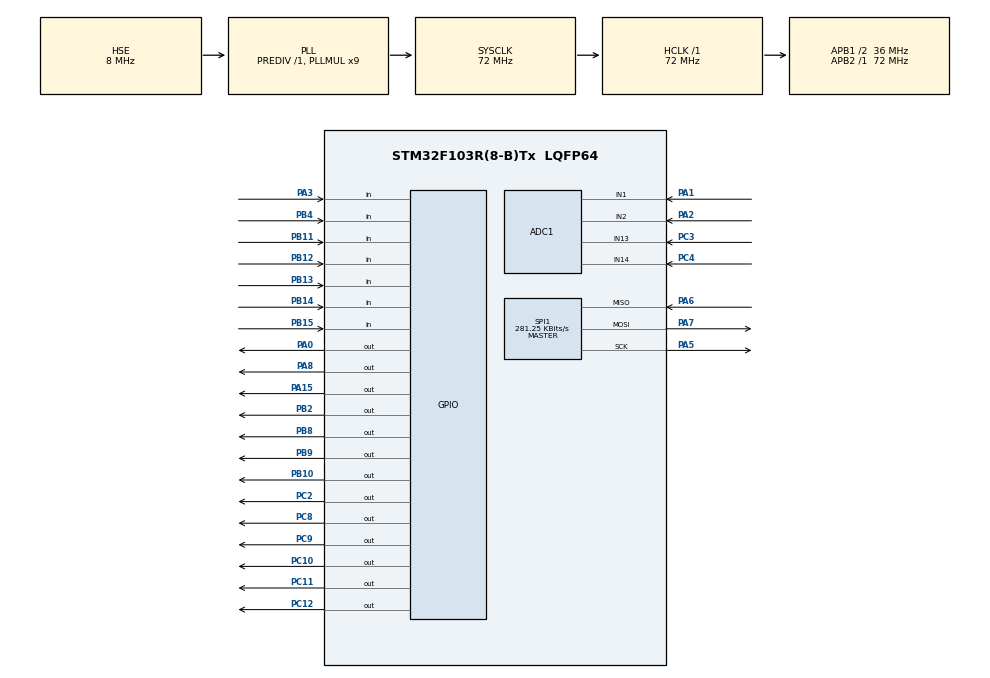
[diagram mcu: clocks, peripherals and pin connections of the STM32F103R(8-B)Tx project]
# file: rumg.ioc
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ADC1.ContinuousConvMode=DISABLE
ADC1.EnableRegularConversion=DISABLE
ADC1.master=1
FREERTOS.Tasks01=defaultTask,0,128,StartDefaultTask,Default,NULL,Dynamic,NULL,NULL;myTaskADC,-3,128,StartTaskADC,Default,NULL,Dynamic,NULL,NULL;myTaskLogic,-3,128,StartTaskLogic,Default,NULL,Dynamic,NULL,NULL;myTaskLoRa,-3,128,StartTaskLoRa,Default,NULL,Dynamic,NULL,NULL
IWDG.Prescaler=IWDG_PRESCALER_32
Mcu.Family=STM32F1
Mcu.Name=STM32F103R(8-B)Tx
Mcu.Package=LQFP64
NVIC.PriorityGroup=NVIC_PRIORITYGROUP_4
NVIC.TIM1_UP_IRQn=true\:0\:0\:false\:false\:true\:false\:false\:true
NVIC.TIM3_IRQn=true\:0\:0\:false\:false\:true\:false\:true\:true
NVIC.TimeBase=TIM1_UP_IRQn
NVIC.TimeBaseIP=TIM1
PA0-WKUP.GPIO_Speed=GPIO_SPEED_FREQ_HIGH
PA0-WKUP.Signal=GPIO_Output
PA1.Signal=SharedAnalog_PA1
PA13.Mode=Serial_Wire
PA13.Signal=SYS_JTMS-SWDIO
PA14.Mode=Serial_Wire
PA14.Signal=SYS_JTCK-SWCLK
PA15.Signal=GPIO_Output
PA2.Signal=SharedAnalog_PA2
PA3.Signal=GPIO_Input
PA5.Mode=Full_Duplex_Master
PA5.Signal=SPI1_SCK
PA6.Mode=Full_Duplex_Master
PA6.Signal=SPI1_MISO
PA7.Mode=Full_Duplex_Master
PA7.Signal=SPI1_MOSI
PA8.GPIO_Speed=GPIO_SPEED_FREQ_HIGH
PA8.Signal=GPIO_Output
PB10.GPIO_Speed=GPIO_SPEED_FREQ_HIGH
PB10.Signal=GPIO_Output
PB11.Signal=GPIO_Input
PB12.Signal=GPIO_Input
PB13.Signal=GPIO_Input
PB14.Signal=GPIO_Input
PB15.Signal=GPIO_Input
PB2.GPIO_Speed=GPIO_SPEED_FREQ_HIGH
PB2.Signal=GPIO_Output
PB4.Signal=GPIO_Input
PB8.GPIO_Speed=GPIO_SPEED_FREQ_HIGH
PB8.Signal=GPIO_Output
PB9.GPIO_Speed=GPIO_SPEED_FREQ_HIGH
PB9.Signal=GPIO_Output
PC10.GPIO_Speed=GPIO_SPEED_FREQ_HIGH
PC10.PinState=GPIO_PIN_RESET
PC10.Signal=GPIO_Output
PC11.Signal=GPIO_Output
PC12.Signal=GPIO_Output
PC2.GPIO_Speed=GPIO_SPEED_FREQ_HIGH
PC2.Signal=GPIO_Output
PC3.Signal=SharedAnalog_PC3
PC4.Signal=SharedAnalog_PC4
PC8.GPIO_Speed=GPIO_SPEED_FREQ_HIGH
PC8.PinState=GPIO_PIN_RESET
PC8.Signal=GPIO_Output
PC9.GPIO_Speed=GPIO_SPEED_FREQ_HIGH
PC9.PinState=GPIO_PIN_RESET
PC9.Signal=GPIO_Output
PD0-OSC_IN.Mode=HSE-External-Oscillator
PD0-OSC_IN.Signal=RCC_OSC_IN
PD1-OSC_OUT.Mode=HSE-External-Oscillator
PD1-OSC_OUT.Signal=RCC_OSC_OUT
ProjectManager.HeapSize=0x200
ProjectManager.StackSize=0x400
ProjectManager.TargetToolchain=MDK-ARM V5.27
RCC.ADCPresc=RCC_ADCPCLK2_DIV6
RCC.AHBFreq_Value=72000000
RCC.APB1CLKDivider=RCC_HCLK_DIV2
RCC.APB1Freq_Value=36000000
RCC.APB1TimFreq_Value=72000000
RCC.APB2Freq_Value=72000000
RCC.APB2TimFreq_Value=72000000
RCC.HCLKFreq_Value=72000000
RCC.PLLMUL=RCC_PLL_MUL9
RCC.PLLSourceVirtual=RCC_PLLSOURCE_HSE
RCC.SYSCLKFreq_VALUE=72000000
RCC.SYSCLKSource=RCC_SYSCLKSOURCE_PLLCLK
RCC.USBFreq_Value=72000000
SH.SharedAnalog_PA1.0=GPIO_Analog
SH.SharedAnalog_PA1.1=ADC1_IN1,IN1
SH.SharedAnalog_PA2.0=GPIO_Analog
SH.SharedAnalog_PA2.1=ADC1_IN2,IN2
SH.SharedAnalog_PC3.0=GPIO_Analog
SH.SharedAnalog_PC3.1=ADC1_IN13,IN13
SH.SharedAnalog_PC4.0=GPIO_Analog
SH.SharedAnalog_PC4.1=ADC1_IN14,IN14
SPI1.BaudRatePrescaler=SPI_BAUDRATEPRESCALER_256
SPI1.CalculateBaudRate=281.25 KBits/s
SPI1.Direction=SPI_DIRECTION_2LINES
SPI1.Mode=SPI_MODE_MASTER
SPI1.VirtualType=VM_MASTER
TIM3.AutoReloadPreload=TIM_AUTORELOAD_PRELOAD_ENABLE
TIM3.CounterMode=TIM_COUNTERMODE_DOWN
TIM3.Period=499
TIM3.Prescaler=15
VP_FREERTOS_VS_CMSIS_V1.Mode=CMSIS_V1
VP_IWDG_VS_IWDG.Mode=IWDG_Activate
VP_SYS_VS_tim1.Mode=TIM1
VP_TIM3_VS_ClockSourceINT.Mode=Internal
board=custom

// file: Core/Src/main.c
/* USER CODE BEGIN Header */
/**
  ******************************************************************************
  * @file           : main.c
  * @brief          : Main program body
  ******************************************************************************
  * @attention
  *
  * <h2><center>&copy; Copyright (c) 2020 STMicroelectronics.
  * All rights reserved.</center></h2>
  *
  * This software component is licensed by ST under Ultimate Liberty license
  * SLA0044, the "License"; You may not use this file except in compliance with
  * the License. You may obtain a copy of the License at:
  *                             www.st.com/SLA0044
  *
  ******************************************************************************
  */
/* USER CODE END Header */
#include "main.h"
#include "cmsis_os.h"

ADC_HandleTypeDef hadc1;

IWDG_HandleTypeDef hiwdg;

SPI_HandleTypeDef hspi1;

TIM_HandleTypeDef htim3;

osThreadId defaultTaskHandle;
osThreadId myTaskADCHandle;
osThreadId myTaskLogicHandle;
osThreadId myTaskLoRaHandle;
/* USER CODE BEGIN PV */
QueueHandle_t myQueueADCHandle;
QueueHandle_t myQueueLORAHandle;

uint32_t UserTimer;
uint8_t UserTimerFlag;
uint8_t OneSeconTick;
uint8_t buzz_on;
uint8_t ButtSw;
uint8_t ButtAl;
uint8_t ButtSwCounter;
uint8_t ButtAlCounter;

SX1278_hw_t SX1278_hw;
SX1278_t SX1278;

TypeVolt PhValues_input;
TypeVolt PhValues_output;

extern ADC_ChannelConfTypeDef ADC_CONF;
/* USER CODE END PV */

void SystemClock_Config(void);
static void MX_GPIO_Init(void);
static void MX_SPI1_Init(void);
static void MX_TIM3_Init(void);
static void MX_ADC1_Init(void);
static void MX_IWDG_Init(void);
void StartDefaultTask(void const * argument);
void StartTaskADC(void const * argument);
void StartTaskLogic(void const * argument);
void StartTaskLoRa(void const * argument);

int main(void)
{

  /* MCU Configuration--------------------------------------------------------*/

  /* Reset of all peripherals, Initializes the Flash interface and the Systick. */
  HAL_Init();

  /* Configure the system clock */
  SystemClock_Config();

  /* Initialize all configured peripherals */
  MX_GPIO_Init();
  MX_SPI1_Init();
  MX_TIM3_Init();
  MX_ADC1_Init();
  MX_IWDG_Init();
  /* USER CODE BEGIN 2 */
	HAL_TIM_Base_Start_IT(&htim3);
	HAL_ADC_Start (&hadc1);

	ADC_CONF.Channel = ADC_Left_Press;
	ADC_CONF.Rank = ADC_REGULAR_RANK_1;
	ADC_CONF.SamplingTime = ADC_SAMPLETIME_13CYCLES_5;

	if(ROLE != NOLORA){
		//initialize LoRa module
		SX1278_hw.dio0.port = DIO0_GPIO_Port;
		SX1278_hw.dio0.pin = DIO0_Pin;
		SX1278_hw.nss.port = NSS_GPIO_Port;
		SX1278_hw.nss.pin = NSS_Pin;
		SX1278_hw.reset.port = RESET_GPIO_Port;
		SX1278_hw.reset.pin = RESET_Pin;
		SX1278_hw.spi = &hspi1;

		SX1278.hw = &SX1278_hw;

		SX1278_init(&SX1278, LoRa_FREQ, SX1278_POWER_17DBM, SX1278_LORA_SF_12,	SX1278_LORA_BW_125KHZ, SX1278_LORA_CR_4_5, SX1278_LORA_CRC_EN, 10);

		if(ROLE == SENDER){
			SX1278_LoRaEntryTx(&SX1278, MESS_LEN, LoRa_TIMEOUT);
		}else
		if(ROLE == RECEIVER){
			SX1278_LoRaEntryRx(&SX1278, MESS_LEN, LoRa_TIMEOUT);
		}
	}
  /* USER CODE END 2 */

  /* USER CODE BEGIN RTOS_QUEUES */
  /* add queues, ... */
	myQueueADCHandle = xQueueCreate(1, sizeof(TypeVolt));
	myQueueLORAHandle = xQueueCreate(1, MESS_LEN);
  /* USER CODE END RTOS_QUEUES */

  /* Create the thread(s) */
  /* definition and creation of defaultTask */
  osThreadDef(defaultTask, StartDefaultTask, osPriorityNormal, 0, 128);
  defaultTaskHandle = osThreadCreate(osThread(defaultTask), NULL);

  /* definition and creation of myTaskADC */
  osThreadDef(myTaskADC, StartTaskADC, osPriorityIdle, 0, 128);
  myTaskADCHandle = osThreadCreate(osThread(myTaskADC), NULL);

  /* definition and creation of myTaskLogic */
  osThreadDef(myTaskLogic, StartTaskLogic, osPriorityIdle, 0, 128);
  myTaskLogicHandle = osThreadCreate(osThread(myTaskLogic), NULL);

  /* definition and creation of myTaskLoRa */
  osThreadDef(myTaskLoRa, StartTaskLoRa, osPriorityIdle, 0, 128);
  myTaskLoRaHandle = osThreadCreate(osThread(myTaskLoRa), NULL);

  /* Start scheduler */
  osKernelStart();

  /* We should never get here as control is now taken by the scheduler */
  /* Infinite loop */
  while (1)
  {

  }
}

void SystemClock_Config(void)
{
  RCC_OscInitTypeDef RCC_OscInitStruct = {0};
  RCC_ClkInitTypeDef RCC_ClkInitStruct = {0};
  RCC_PeriphCLKInitTypeDef PeriphClkInit = {0};

  /** Initializes the RCC Oscillators according to the specified parameters
  * in the RCC_OscInitTypeDef structure.
  */
  RCC_OscInitStruct.OscillatorType = RCC_OSCILLATORTYPE_LSI|RCC_OSCILLATORTYPE_HSE;
  RCC_OscInitStruct.HSEState = RCC_HSE_ON;
  RCC_OscInitStruct.HSEPredivValue = RCC_HSE_PREDIV_DIV1;
  RCC_OscInitStruct.HSIState = RCC_HSI_ON;
  RCC_OscInitStruct.LSIState = RCC_LSI_ON;
  RCC_OscInitStruct.PLL.PLLState = RCC_PLL_ON;
  RCC_OscInitStruct.PLL.PLLSource = RCC_PLLSOURCE_HSE;
  RCC_OscInitStruct.PLL.PLLMUL = RCC_PLL_MUL9;
  if (HAL_RCC_OscConfig(&RCC_OscInitStruct) != HAL_OK)
  {
    Error_Handler();
  }
  /** Initializes the CPU, AHB and APB buses clocks
  */
  RCC_ClkInitStruct.ClockType = RCC_CLOCKTYPE_HCLK|RCC_CLOCKTYPE_SYSCLK
                              |RCC_CLOCKTYPE_PCLK1|RCC_CLOCKTYPE_PCLK2;
  RCC_ClkInitStruct.SYSCLKSource = RCC_SYSCLKSOURCE_PLLCLK;
  RCC_ClkInitStruct.AHBCLKDivider = RCC_SYSCLK_DIV1;
  RCC_ClkInitStruct.APB1CLKDivider = RCC_HCLK_DIV2;
  RCC_ClkInitStruct.APB2CLKDivider = RCC_HCLK_DIV1;

  if (HAL_RCC_ClockConfig(&RCC_ClkInitStruct, FLASH_LATENCY_2) != HAL_OK)
  {
    Error_Handler();
  }
  PeriphClkInit.PeriphClockSelection = RCC_PERIPHCLK_ADC;
  PeriphClkInit.AdcClockSelection = RCC_ADCPCLK2_DIV6;
  if (HAL_RCCEx_PeriphCLKConfig(&PeriphClkInit) != HAL_OK)
  {
    Error_Handler();
  }
}

static void MX_ADC1_Init(void)
{

  /** Common config
  */
  hadc1.Instance = ADC1;
  hadc1.Init.ScanConvMode = ADC_SCAN_DISABLE;
  hadc1.Init.ContinuousConvMode = DISABLE;
  hadc1.Init.DiscontinuousConvMode = DISABLE;
  hadc1.Init.ExternalTrigConv = ADC_SOFTWARE_START;
  hadc1.Init.DataAlign = ADC_DATAALIGN_RIGHT;
  hadc1.Init.NbrOfConversion = 1;
  if (HAL_ADC_Init(&hadc1) != HAL_OK)
  {
    Error_Handler();
  }

}

static void MX_IWDG_Init(void)
{

  hiwdg.Instance = IWDG;
  hiwdg.Init.Prescaler = IWDG_PRESCALER_32;
  hiwdg.Init.Reload = 4095;
  if (HAL_IWDG_Init(&hiwdg) != HAL_OK)
  {
    Error_Handler();
  }

}

static void MX_SPI1_Init(void)
{

  /* SPI1 parameter configuration*/
  hspi1.Instance = SPI1;
  hspi1.Init.Mode = SPI_MODE_MASTER;
  hspi1.Init.Direction = SPI_DIRECTION_2LINES;
  hspi1.Init.DataSize = SPI_DATASIZE_8BIT;
  hspi1.Init.CLKPolarity = SPI_POLARITY_LOW;
  hspi1.Init.CLKPhase = SPI_PHASE_1EDGE;
  hspi1.Init.NSS = SPI_NSS_SOFT;
  hspi1.Init.BaudRatePrescaler = SPI_BAUDRATEPRESCALER_256;
  hspi1.Init.FirstBit = SPI_FIRSTBIT_MSB;
  hspi1.Init.TIMode = SPI_TIMODE_DISABLE;
  hspi1.Init.CRCCalculation = SPI_CRCCALCULATION_DISABLE;
  hspi1.Init.CRCPolynomial = 10;
  if (HAL_SPI_Init(&hspi1) != HAL_OK)
  {
    Error_Handler();
  }

}

static void MX_TIM3_Init(void)
{

  TIM_ClockConfigTypeDef sClockSourceConfig = {0};
  TIM_MasterConfigTypeDef sMasterConfig = {0};

  htim3.Instance = TIM3;
  htim3.Init.Prescaler = 15;
  htim3.Init.CounterMode = TIM_COUNTERMODE_DOWN;
  htim3.Init.Period = 499;
  htim3.Init.ClockDivision = TIM_CLOCKDIVISION_DIV1;
  htim3.Init.AutoReloadPreload = TIM_AUTORELOAD_PRELOAD_ENABLE;
  if (HAL_TIM_Base_Init(&htim3) != HAL_OK)
  {
    Error_Handler();
  }
  sClockSourceConfig.ClockSource = TIM_CLOCKSOURCE_INTERNAL;
  if (HAL_TIM_ConfigClockSource(&htim3, &sClockSourceConfig) != HAL_OK)
  {
    Error_Handler();
  }
  sMasterConfig.MasterOutputTrigger = TIM_TRGO_RESET;
  sMasterConfig.MasterSlaveMode = TIM_MASTERSLAVEMODE_DISABLE;
  if (HAL_TIMEx_MasterConfigSynchronization(&htim3, &sMasterConfig) != HAL_OK)
  {
    Error_Handler();
  }

}

static void MX_GPIO_Init(void)
{
  GPIO_InitTypeDef GPIO_InitStruct = {0};

  /* GPIO Ports Clock Enable */
  __HAL_RCC_GPIOD_CLK_ENABLE();
  __HAL_RCC_GPIOC_CLK_ENABLE();
  __HAL_RCC_GPIOA_CLK_ENABLE();
  __HAL_RCC_GPIOB_CLK_ENABLE();

  /*Configure GPIO pin Output Level */
  HAL_GPIO_WritePin(GPIOC, GPIO_PIN_2|GPIO_PIN_8|GPIO_PIN_9|GPIO_PIN_10
                          |GPIO_PIN_11|GPIO_PIN_12, GPIO_PIN_RESET);

  /*Configure GPIO pin Output Level */
  HAL_GPIO_WritePin(GPIOA, GPIO_PIN_0|GPIO_PIN_8|GPIO_PIN_15, GPIO_PIN_RESET);

  /*Configure GPIO pin Output Level */
  HAL_GPIO_WritePin(GPIOB, GPIO_PIN_2|GPIO_PIN_10|GPIO_PIN_8|GPIO_PIN_9, GPIO_PIN_RESET);

  /*Configure GPIO pins : PC2 PC8 PC9 PC10 */
  GPIO_InitStruct.Pin = GPIO_PIN_2|GPIO_PIN_8|GPIO_PIN_9|GPIO_PIN_10;
  GPIO_InitStruct.Mode = GPIO_MODE_OUTPUT_PP;
  GPIO_InitStruct.Pull = GPIO_NOPULL;
  GPIO_InitStruct.Speed = GPIO_SPEED_FREQ_HIGH;
  HAL_GPIO_Init(GPIOC, &GPIO_InitStruct);

  /*Configure GPIO pins : PA0 PA8 */
  GPIO_InitStruct.Pin = GPIO_PIN_0|GPIO_PIN_8;
  GPIO_InitStruct.Mode = GPIO_MODE_OUTPUT_PP;
  GPIO_InitStruct.Pull = GPIO_NOPULL;
  GPIO_InitStruct.Speed = GPIO_SPEED_FREQ_HIGH;
  HAL_GPIO_Init(GPIOA, &GPIO_InitStruct);

  /*Configure GPIO pin : PA3 */
  GPIO_InitStruct.Pin = GPIO_PIN_3;
  GPIO_InitStruct.Mode = GPIO_MODE_INPUT;
  GPIO_InitStruct.Pull = GPIO_NOPULL;
  HAL_GPIO_Init(GPIOA, &GPIO_InitStruct);

  /*Configure GPIO pins : PB2 PB10 PB8 PB9 */
  GPIO_InitStruct.Pin = GPIO_PIN_2|GPIO_PIN_10|GPIO_PIN_8|GPIO_PIN_9;
  GPIO_InitStruct.Mode = GPIO_MODE_OUTPUT_PP;
  GPIO_InitStruct.Pull = GPIO_NOPULL;
  GPIO_InitStruct.Speed = GPIO_SPEED_FREQ_HIGH;
  HAL_GPIO_Init(GPIOB, &GPIO_InitStruct);

  /*Configure GPIO pins : PB11 PB12 PB13 PB14
                           PB15 PB4 */
  GPIO_InitStruct.Pin = GPIO_PIN_11|GPIO_PIN_12|GPIO_PIN_13|GPIO_PIN_14
                          |GPIO_PIN_15|GPIO_PIN_4;
  GPIO_InitStruct.Mode = GPIO_MODE_INPUT;
  GPIO_InitStruct.Pull = GPIO_NOPULL;
  HAL_GPIO_Init(GPIOB, &GPIO_InitStruct);

  /*Configure GPIO pin : PA15 */
  GPIO_InitStruct.Pin = GPIO_PIN_15;
  GPIO_InitStruct.Mode = GPIO_MODE_OUTPUT_PP;
  GPIO_InitStruct.Pull = GPIO_NOPULL;
  GPIO_InitStruct.Speed = GPIO_SPEED_FREQ_LOW;
  HAL_GPIO_Init(GPIOA, &GPIO_InitStruct);

  /*Configure GPIO pins : PC11 PC12 */
  GPIO_InitStruct.Pin = GPIO_PIN_11|GPIO_PIN_12;
  GPIO_InitStruct.Mode = GPIO_MODE_OUTPUT_PP;
  GPIO_InitStruct.Pull = GPIO_NOPULL;
  GPIO_InitStruct.Speed = GPIO_SPEED_FREQ_LOW;
  HAL_GPIO_Init(GPIOC, &GPIO_InitStruct);

}

void StartDefaultTask(void const * argument)
{
  for(;;)
  {
    osDelay(1);
  }
}

void StartTaskADC(void const * argument)
{
  /* USER CODE BEGIN StartTaskADC */
  /* Infinite loop */
  for(;;)
  {
    //osDelay(1);
		measure_volt(&PhValues_input);
		if(PhValues_input.new_data){
		  if(xQueueSend(myQueueADCHandle, &PhValues_input, 0) != pdTRUE){
				while(1){}
			}
			PhValues_input.new_data = 0;
		}
  }
  /* USER CODE END StartTaskADC */
}

void StartTaskLogic(void const * argument)
{
  /* USER CODE BEGIN StartTaskLogic */
  /* Infinite loop */
  for(;;)
  {
    //osDelay(1);
		make_action(&PhValues_output);
		if(xQueueReceive(myQueueADCHandle, &PhValues_output, 0) == pdTRUE){}
  }
  /* USER CODE END StartTaskLogic */
}

void StartTaskLoRa(void const * argument)
{
  /* USER CODE BEGIN StartTaskLoRa */
  /* Infinite loop */
  for(;;)
  {
    osDelay(1);
		if(ROLE != NOLORA) process_lora();
  }
  /* USER CODE END StartTaskLoRa */
}

void HAL_TIM_PeriodElapsedCallback(TIM_HandleTypeDef *htim)
{
  if (htim->Instance == TIM1) {
    HAL_IncTick();
  }
}

void Error_Handler(void)
{
}

/************************ (C) COPYRIGHT STMicroelectronics *****END OF FILE****/
